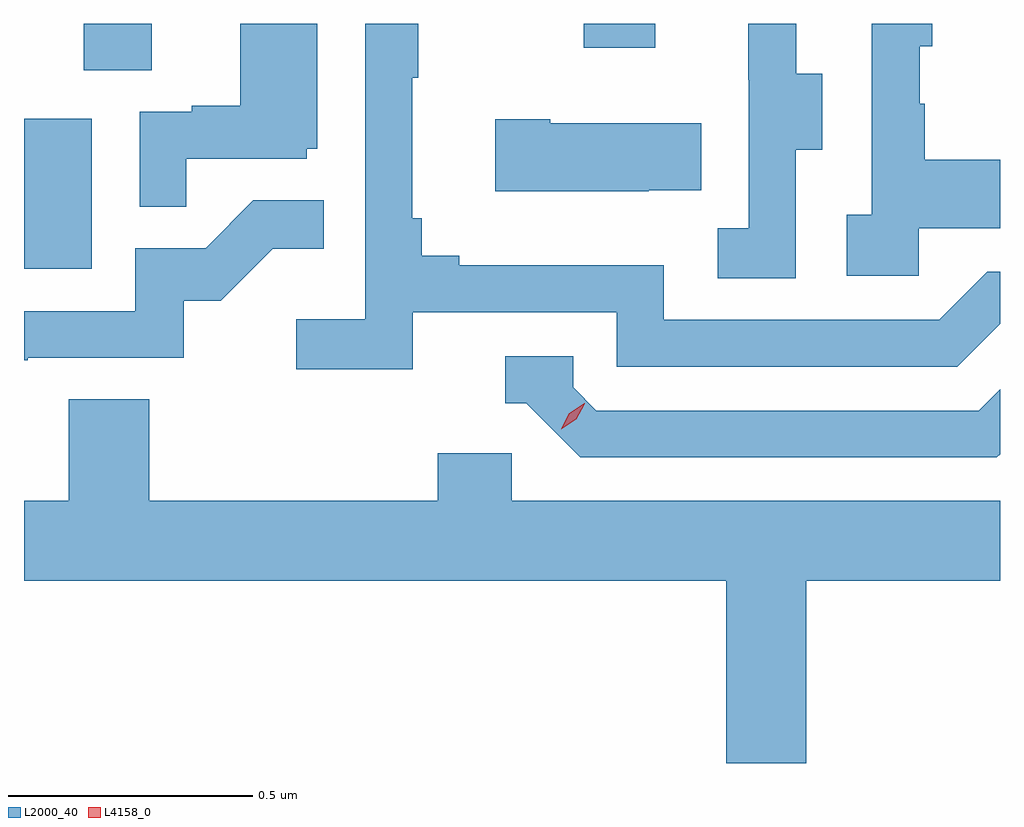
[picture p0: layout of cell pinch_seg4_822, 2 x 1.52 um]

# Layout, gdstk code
import gdstk
lib = gdstk.Library(unit=1e-6, precision=1e-09)
def R(c, l, rs):  # rectangles x0, y0, x1, y1
    for r in rs: c.add(gdstk.rectangle(r[:2], r[2:], *l))
def P(c, l, *ps):  # polygons
    for p in ps: c.add(gdstk.Polygon(p, *l))
L2000_40 = (2000, 40)
L4158_0 = (4158, 0)

pinch_seg4_822 = lib.new_cell('pinch_seg4_822')
R(pinch_seg4_822, L2000_40, [(798.933,802.788,799.072,803.095), (799.055,803.194,799.195,803.29), (800.08,803.241,800.227,803.29)])
P(pinch_seg4_822, L2000_40, [(799.265,803.013),(799.512,803.013),(799.512,803.034),(799.534,803.034),(799.534,803.29),(799.376,803.29),(799.376,803.122),(799.277,803.122),(799.277,803.109),(799.17,803.109),(799.17,802.915),(799.265,802.915)],
  [(799.73,802.698),(800.148,802.698),(800.148,802.587),(800.845,802.587),(800.933,802.675),(800.933,802.782),(800.907,802.782),(800.808,802.683),(800.244,802.683),(800.244,802.795),(799.825,802.795),(799.825,802.814),(799.748,802.814),(799.748,802.891),(799.729,802.891),(799.729,803.179),(799.741,803.179),(799.741,803.29),(799.632,803.29),(799.632,802.684),(799.491,802.684),(799.491,802.582),(799.73,802.582)],
  [(800.766,802.871),(800.933,802.871),(800.933,803.011),(800.779,803.011),(800.779,803.126),(800.769,803.126),(800.769,803.244),(800.794,803.244),(800.794,803.29),(800.67,803.29),(800.67,802.898),(800.619,802.898),(800.619,802.773),(800.766,802.773)],
  [(800.514,803.032),(800.569,803.032),(800.569,803.187),(800.515,803.187),(800.515,803.29),(800.417,803.29),(800.417,803.175),(800.418,803.175),(800.418,802.871),(800.355,802.871),(800.355,802.768),(800.514,802.768)],
  [(800.213,802.949),(800.321,802.949),(800.321,803.086),(800.011,803.086),(800.011,803.094),(799.899,803.094),(799.899,802.946),(800.213,802.946)],
  [(798.941,802.605),(799.26,802.605),(799.26,802.722),(799.336,802.722),(799.443,802.829),(799.547,802.829),(799.547,802.928),(799.403,802.928),(799.305,802.83),(799.161,802.83),(799.161,802.701),(798.933,802.701),(798.933,802.6),(798.941,802.6)],
  [(800.933,802.408),(800.933,802.541),(800.889,802.497),(800.106,802.497),(800.058,802.545),(800.058,802.608),(799.919,802.608),(799.919,802.512),(799.962,802.512),(800.073,802.401),(800.926,802.401)],
  [(800.536,802.148),(800.933,802.148),(800.933,802.312),(799.932,802.312),(799.932,802.41),(799.781,802.41),(799.781,802.312),(799.19,802.312),(799.19,802.52),(799.025,802.52),(799.025,802.312),(798.933,802.312),(798.933,802.148),(800.372,802.148),(800.372,801.774),(800.536,801.774)])
P(pinch_seg4_822, L4158_0, [(800.034,802.459),(800.034,802.46),(800.05,802.492),(800.081,802.512),(800.082,802.512),(800.082,802.511),(800.065,802.479),(800.034,802.459)])

lib.write_gds('pinch_seg4_822.gds')
